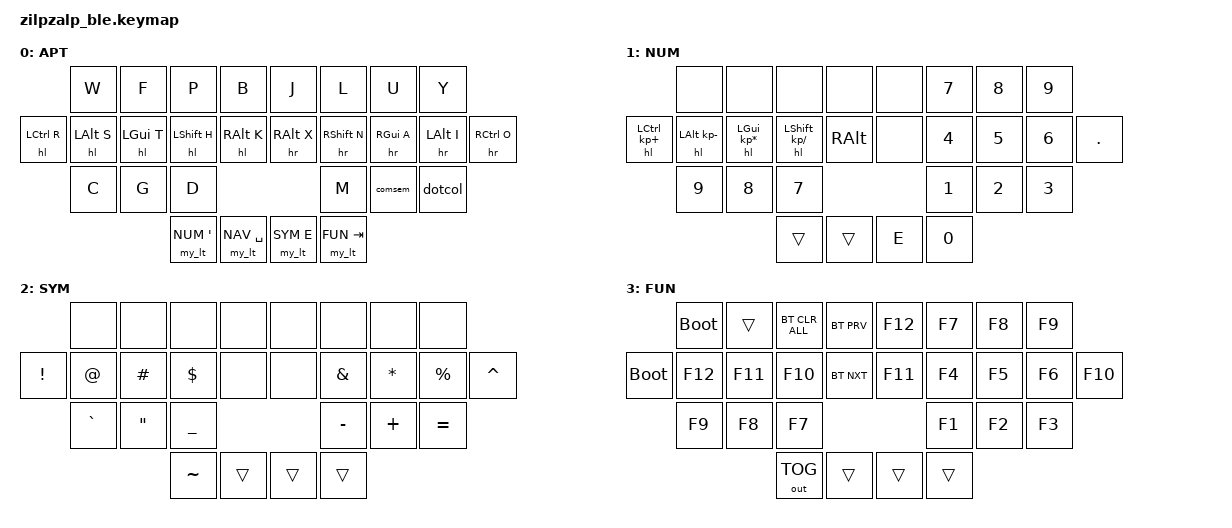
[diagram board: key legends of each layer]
#include <dt-bindings/zmk/bt.h>
#include <dt-bindings/zmk/outputs.h>
#include "base_zilpzalp.h"


// zilpzalp key numbers
//     __________________________  __________________________
//    /     0  |  1  |  2  |  3  \/   4 |   5 |   6 |   7    \
// |  8  |  9  | 10  | 11  | 12  /\  13 |  14 |  15 |  16 | 17  |
//    \    18  | 19  | 20    /        \    21 |  22 |  23   /
//          \    24  | 25  /            \  26 |  27    /
//           --------------              --------------

/ {

    keymap {
        compatible = "zmk,keymap";

        aptmak {
            label = "APT";

            bindings = <
                               &kp W          &kp F          &kp P          &kp B          &kp J          &kp L          &kp U          &kp Y
                &hl LCTRL R    &hl LALT S     &hl LGUI T     &hl LSHFT H    &hl RALT K     &hr RALT X     &hr RSHFT N    &hr RGUI A     &hr LALT I     &hr RCTRL O
                               &kp C          &kp G          &kp D                                        &kp M          &comsem        &dotcol
                                                             &my_lt NUM SQT &my_lt NAV SPACE &my_lt SYM E &my_lt FUN TAB
            >;
        };
        numbers {
            label = "NUM";

            bindings = <
                                  &none             &none                &none              &none          &none          &kp N7         &kp N8         &kp N9
                &hl LCTRL KP_PLUS &hl LALT KP_MINUS &hl LGUI KP_ASTERISK &hl LSHFT KP_SLASH &kp RALT       &none          &kp N4         &kp N5         &kp N6         &kp DOT
                                  &kp N9            &kp N8               &kp N7                                           &kp N1         &kp N2         &kp N3
                                                             &trans         &trans         &kp E          &kp N0
            >;
        };
        navigation {
            label = "NAV";

            bindings = <
                               &none          &none          &none           &kp C_VOL_UP   &kp LC(X)      &kp LC(INSERT  &kp LS(INSERT) &kp INSERT
                &sk LCTRL      &sk LALT       &sk LGUI       &sk LSHFT       &kp C_VOL_DN   &kp C_MUTE     &kp LEFT       &kp DOWN       &kp UP         &kp RIGHT
                               &kp HOME       &kp PG_DN      &kp END                                       &kp HOME       &kp PG_UP      &kp END
                                                             &trans          &trans         &trans         &trans
            >;
        };
        symbols {
            label = "SYM";

            bindings = <
                               &none          &none          &none            &none          &none          &none          &none          &none
                &kp EXCL       &kp AT         &kp HASH       &kp DOLLAR       &none          &none          &kp AMPERSAND  &kp ASTERISK   &kp PERCENT    &kp CARET
                               &kp GRAVE      &kp DQT        &kp UNDERSCORE                                 &kp MINUS      &kp PLUS       &kp EQUAL
                                                             &kp TILDE        &trans         &trans         &trans
            >;
        };
        function {
            label = "FUN";

            bindings = <
                               &bootloader    &trans         &bt BT_CLR_ALL &bt BT_PRV     &kp F12        &kp F7         &kp F8         &kp F9
                &bootloader    &kp F12        &kp F11        &kp F10        &bt BT_NXT     &kp F11        &kp F4         &kp F5         &kp F6         &kp F10
                               &kp F9         &kp F8         &kp F7                                       &kp F1         &kp F2         &kp F3
                                                             &out OUT_TOG   &trans         &trans         &trans
            >;
        };

    };
};

//     __________________________  __________________________
//    /     1  |  2  |  3  |  4  \/   5 |   6 |   7 |   8    \
// | 10  | 11  | 12  | 13  | 14  ||  15 |  16 |  17 |  18 | 19  |
//    \    20  | 21  | 22  |     ||     |  23 |  24 |  25   /
//                \    26  | 27  /\  28 |  29    /
//                 --------------  --------------
